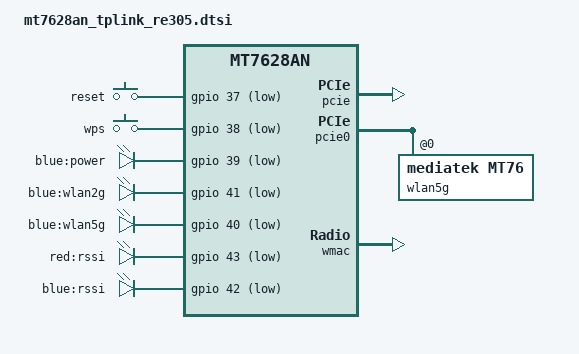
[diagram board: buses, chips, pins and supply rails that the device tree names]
// SPDX-License-Identifier: GPL-2.0-or-later OR MIT

#include "mt7628an.dtsi"

#include <dt-bindings/gpio/gpio.h>
#include <dt-bindings/input/input.h>

/ {
	aliases {
		led-boot = &led_power;
		led-failsafe = &led_power;
		led-running = &led_power;
		led-upgrade = &led_power;
		label-mac-device = &ethernet;
	};

	keys {
		compatible = "gpio-keys";

		reset {
			label = "reset";
			gpios = <&gpio 37 GPIO_ACTIVE_LOW>;
			linux,code = <KEY_RESTART>;
		};

		wps {
			label = "wps";
			gpios = <&gpio 38 GPIO_ACTIVE_LOW>;
			linux,code = <KEY_WPS_BUTTON>;
		};
	};

	leds {
		compatible = "gpio-leds";

		led_power: power {
			label = "blue:power";
			gpios = <&gpio 39 GPIO_ACTIVE_LOW>;
		};

		wlan2g {
			label = "blue:wlan2g";
			gpios = <&gpio 41 GPIO_ACTIVE_LOW>;
			linux,default-trigger = "phy0tpt";
		};

		wlan5g {
			label = "blue:wlan5g";
			gpios = <&gpio 40 GPIO_ACTIVE_LOW>;
			linux,default-trigger = "phy1tpt";
		};

		rssi1 {
			label = "red:rssi";
			gpios = <&gpio 43 GPIO_ACTIVE_LOW>;
		};

		rssi2 {
			label = "blue:rssi";
			gpios = <&gpio 42 GPIO_ACTIVE_LOW>;
		};
	};
};

&state_default {
	gpio {
		groups = "refclk", "wdt", "p0led_an", "p1led_an", "p2led_an", "p3led_an", "p4led_an";
		function = "gpio";
	};
};

&pcie {
	status = "okay";
};

&pcie0 {
	wlan5g: mt76@0,0 {
		compatible = "mediatek,mt76";
		reg = <0x0000 0 0 0 0>;
		ieee80211-freq-limit = <5000000 6000000>;
	};
};

&wmac {
	status = "okay";
};
